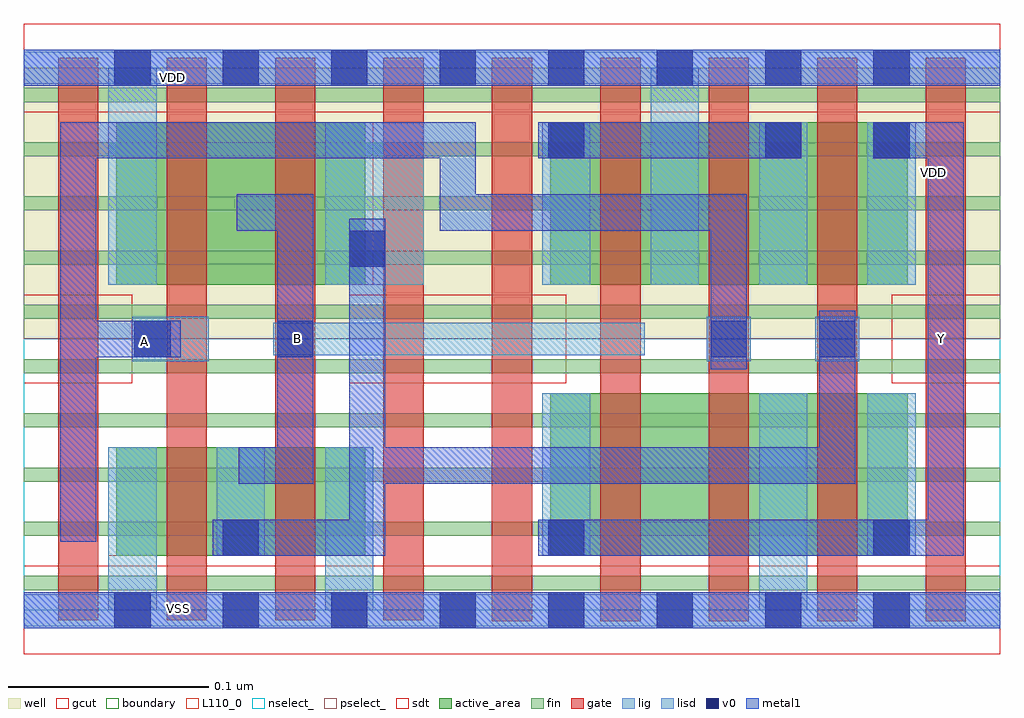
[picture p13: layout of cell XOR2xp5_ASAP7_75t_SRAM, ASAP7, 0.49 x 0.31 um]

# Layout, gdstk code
import gdstk
lib = gdstk.Library(unit=1e-6, precision=2.5e-10)
def R(c, l, rs):  # rectangles x0, y0, x1, y1
    for r in rs: c.add(gdstk.rectangle(r[:2], r[2:], *l))
def A(c, l, x, y, w, h, nx, ny, dx, dy):  # array of equal rectangles
    R(c, l, [(x+i*dx, y+j*dy, x+i*dx+w, y+j*dy+h) for i in range(nx) for j in range(ny)])
def P(c, l, *ps):  # polygons
    for p in ps: c.add(gdstk.Polygon(p, *l))
well = (1, 0)
fin = (2, 0)
gate = (7, 0)
gcut = (10, 0)
active_area = (11, 0)
nselect_ = (12, 0)
pselect_ = (13, 0)
lig = (16, 0)
lisd = (17, 0)
v0 = (18, 0)
metal1 = (19, 0)
sdt = (88, 0)
boundary = (100, 0)
L110_0 = (110, 0)

xor2xp5_asap7_75t_sram = lib.new_cell('XOR2xp5_ASAP7_75t_SRAM')
R(xor2xp5_asap7_75t_sram, well, [(0,0.135,0.486,0.27)])
A(xor2xp5_asap7_75t_sram, fin, 0, 0.01, 0.486, 0.007, 1, 10, 0, 0.027)
A(xor2xp5_asap7_75t_sram, gate, 0.233, -0.0055, 0.02, 0.2805, 5, 1, 0.054, 0)
A(xor2xp5_asap7_75t_sram, gate, 0.017, -0.005, 0.02, 0.28, 4, 1, 0.054, 0)
R(xor2xp5_asap7_75t_sram, gcut, [(0,-0.022,0.486,0.022), (0,0.113,0.054,0.157), (0.162,0.113,0.27,0.157), (0.432,0.113,0.486,0.157), (0,0.248,0.486,0.292)])
R(xor2xp5_asap7_75t_sram, active_area, [(0.046,0.027,0.17,0.081), (0.262,0.027,0.44,0.108), (0.046,0.162,0.17,0.243), (0.262,0.162,0.44,0.243)])
R(xor2xp5_asap7_75t_sram, nselect_, [(0,0,0.486,0.135)])
R(xor2xp5_asap7_75t_sram, pselect_, [(0,0.135,0.486,0.27)])
R(xor2xp5_asap7_75t_sram, lig, [(0,-0.008,0.486,0.008), (0.054,0.124,0.092,0.146), (0.34,0.124,0.362,0.146), (0.394,0.124,0.416,0.146), (0.124,0.127,0.309,0.143), (0,0.262,0.486,0.278)])
R(xor2xp5_asap7_75t_sram, lisd, [(0.042,0,0.066,0.081), (0.15,0,0.174,0.081), (0.366,0,0.39,0.108), (0.096,0.027,0.12,0.081), (0.258,0.027,0.282,0.108), (0.42,0.027,0.444,0.108), (0.042,0.162,0.066,0.27), (0.15,0.162,0.199,0.243), (0.258,0.162,0.282,0.243), (0.312,0.162,0.336,0.27), (0.366,0.162,0.39,0.243), (0.42,0.162,0.444,0.243)])
A(xor2xp5_asap7_75t_sram, v0, 0.045, -0.009, 0.018, 0.018, 8, 2, 0.054, 0.27)
A(xor2xp5_asap7_75t_sram, v0, 0.099, 0.027, 0.018, 0.018, 3, 1, 0.162, 0)
R(xor2xp5_asap7_75t_sram, v0, [(0.055,0.126,0.073,0.144), (0.126,0.126,0.144,0.144), (0.342,0.126,0.36,0.144), (0.396,0.126,0.414,0.144), (0.162,0.171,0.18,0.189), (0.261,0.225,0.279,0.243), (0.369,0.225,0.387,0.243), (0.423,0.225,0.441,0.243)])
R(xor2xp5_asap7_75t_sram, metal1, [(0,-0.009,0.486,0.009), (0.256,0.225,0.387,0.243), (0,0.261,0.486,0.279)])
P(xor2xp5_asap7_75t_sram, metal1, [(0.144,0.063),(0.107,0.063),(0.107,0.081),(0.126,0.081),(0.126,0.189),(0.106,0.189),(0.106,0.207),(0.144,0.207)],
  [(0.36,0.12),(0.342,0.12),(0.342,0.189),(0.207,0.189),(0.207,0.225),(0.036,0.225),(0.036,0.144),(0.078,0.144),(0.078,0.126),(0.036,0.126),(0.036,0.034),(0.018,0.034),(0.018,0.243),(0.225,0.243),(0.225,0.207),(0.36,0.207)],
  [(0.414,0.063),(0.18,0.063),(0.18,0.027),(0.094,0.027),(0.094,0.045),(0.162,0.045),(0.162,0.195),(0.18,0.195),(0.18,0.081),(0.396,0.081),(0.396,0.149),(0.414,0.149)],
  [(0.468,0.027),(0.256,0.027),(0.256,0.045),(0.45,0.045),(0.45,0.225),(0.423,0.225),(0.423,0.243),(0.468,0.243)])
A(xor2xp5_asap7_75t_sram, sdt, 0.042, 0.027, 0.024, 0.054, 3, 1, 0.054, 0)
A(xor2xp5_asap7_75t_sram, sdt, 0.042, 0.162, 0.024, 0.081, 3, 1, 0.108, 0)
A(xor2xp5_asap7_75t_sram, sdt, 0.312, 0.162, 0.024, 0.081, 3, 1, 0.054, 0)
R(xor2xp5_asap7_75t_sram, sdt, [(0.258,0.027,0.282,0.108), (0.366,0.027,0.39,0.108), (0.42,0.027,0.444,0.108)])
R(xor2xp5_asap7_75t_sram, boundary, [(0,0,0.486,0.27)])
R(xor2xp5_asap7_75t_sram, L110_0, [(0,0,0.486,0.27)])
xor2xp5_asap7_75t_sram.add(gdstk.Label('Y', (0.457,0.135), layer=19, texttype=251))
xor2xp5_asap7_75t_sram.add(gdstk.Label('B', (0.136,0.135), layer=19, texttype=251))
xor2xp5_asap7_75t_sram.add(gdstk.Label('VDD', (0.074,0.265), layer=19, texttype=251))
xor2xp5_asap7_75t_sram.add(gdstk.Label('VSS', (0.077,0.001), layer=19, texttype=251))
xor2xp5_asap7_75t_sram.add(gdstk.Label('A', (0.06,0.134), layer=19, texttype=251))
xor2xp5_asap7_75t_sram.add(gdstk.Label('VDD', (0.453,0.218), layer=1, texttype=251))
xor2xp5_asap7_75t_sram.add(gdstk.Label('VSS', (0.522,0.219), layer=3, texttype=251))

lib.write_gds('XOR2xp5_ASAP7_75t_SRAM.gds')
